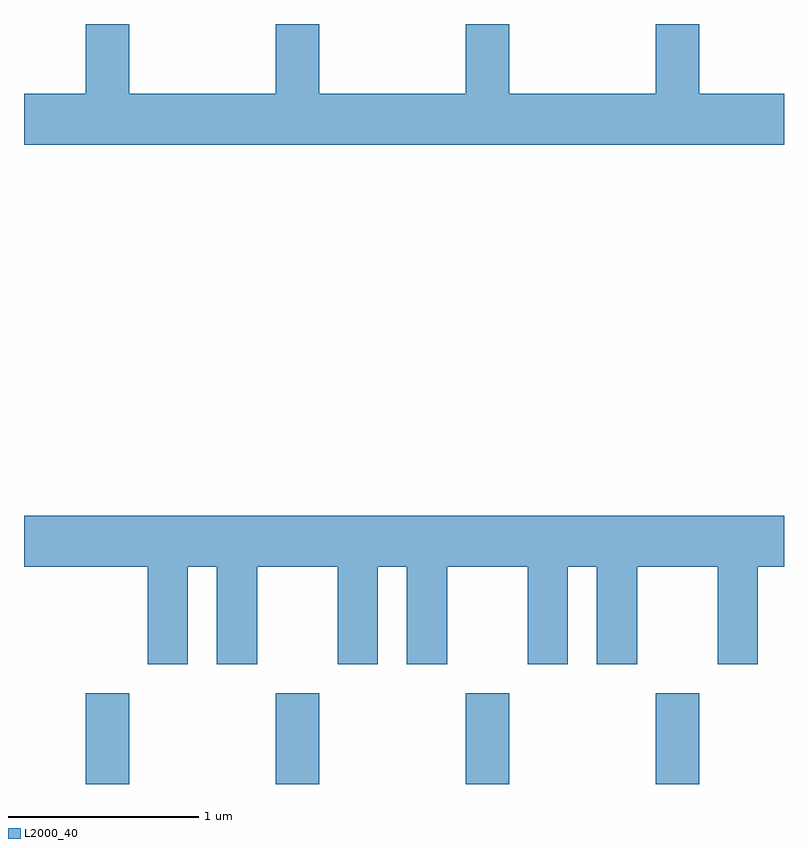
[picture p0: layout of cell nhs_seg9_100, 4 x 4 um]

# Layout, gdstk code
import gdstk
lib = gdstk.Library(unit=1e-6, precision=1e-09)
def R(c, l, rs):  # rectangles x0, y0, x1, y1
    for r in rs: c.add(gdstk.rectangle(r[:2], r[2:], *l))
def A(c, l, x, y, w, h, nx, ny, dx, dy):  # array of equal rectangles
    R(c, l, [(x+i*dx, y+j*dy, x+i*dx+w, y+j*dy+h) for i in range(nx) for j in range(ny)])
def P(c, l, *ps):  # polygons
    for p in ps: c.add(gdstk.Polygon(p, *l))
L2000_40 = (2000, 40)

nhs_seg9_100 = lib.new_cell('nhs_seg9_100')
A(nhs_seg9_100, L2000_40, 187.936, 2008.432, 0.228, 0.477, 4, 1, 1, 0)
P(nhs_seg9_100, L2000_40, [(191.611,2012.064),(191.164,2012.064),(191.164,2012.432),(190.936,2012.432),(190.936,2012.064),(190.164,2012.064),(190.164,2012.432),(189.936,2012.432),(189.936,2012.064),(189.164,2012.064),(189.164,2012.432),(188.936,2012.432),(188.936,2012.064),(188.164,2012.064),(188.164,2012.432),(187.936,2012.432),(187.936,2012.064),(187.611,2012.064),(187.611,2011.796),(191.611,2011.796)],
  [(188.474,2009.576),(188.626,2009.576),(188.626,2009.061),(188.839,2009.061),(188.839,2009.576),(189.261,2009.576),(189.261,2009.061),(189.474,2009.061),(189.474,2009.576),(189.626,2009.576),(189.626,2009.061),(189.839,2009.061),(189.839,2009.576),(190.261,2009.576),(190.261,2009.061),(190.474,2009.061),(190.474,2009.576),(190.626,2009.576),(190.626,2009.061),(190.839,2009.061),(190.839,2009.576),(191.261,2009.576),(191.261,2009.061),(191.474,2009.061),(191.474,2009.576),(191.611,2009.576),(191.611,2009.844),(187.611,2009.844),(187.611,2009.576),(188.261,2009.576),(188.261,2009.061),(188.474,2009.061)])

lib.write_gds('nhs_seg9_100.gds')
